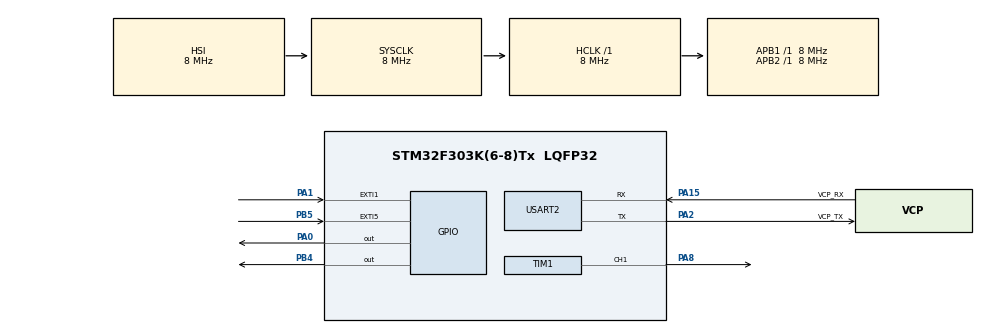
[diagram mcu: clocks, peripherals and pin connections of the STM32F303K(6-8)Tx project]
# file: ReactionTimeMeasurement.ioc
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Mcu.Family=STM32F3
Mcu.Name=STM32F303K(6-8)Tx
Mcu.Package=LQFP32
NVIC.EXTI1_IRQn=true\:0\:0\:false\:false\:true\:true\:true\:true
NVIC.EXTI9_5_IRQn=true\:0\:0\:false\:false\:true\:true\:true\:true
NVIC.PriorityGroup=NVIC_PRIORITYGROUP_4
NVIC.TIM2_IRQn=true\:0\:0\:false\:false\:true\:true\:true\:true
NVIC.TIM3_IRQn=true\:0\:0\:false\:false\:true\:true\:true\:true
NVIC.TIM6_DAC1_IRQn=true\:0\:0\:false\:false\:true\:true\:true\:true
PA0.Signal=GPIO_Output
PA1.GPIO_ModeDefaultEXTI=GPIO_MODE_IT_FALLING
PA1.GPIO_PuPd=GPIO_PULLDOWN
PA1.Signal=GPXTI1
PA13.GPIO_Label=SWDIO
PA13.Mode=Serial_Wire
PA13.Signal=SYS_JTMS-SWDIO
PA14.GPIO_Label=SWCLK
PA14.Mode=Serial_Wire
PA14.Signal=SYS_JTCK-SWCLK
PA15.GPIO_Label=VCP_RX
PA15.Mode=Asynchronous
PA15.Signal=USART2_RX
PA2.GPIO_Label=VCP_TX
PA2.Mode=Asynchronous
PA2.Signal=USART2_TX
PA8.Signal=S_TIM1_CH1
PB4.GPIO_PuPd=GPIO_NOPULL
PB4.Signal=GPIO_Output
PB5.GPIO_ModeDefaultEXTI=GPIO_MODE_IT_FALLING
PB5.GPIO_PuPd=GPIO_PULLDOWN
PB5.Signal=GPXTI5
PF0\ /\ OSC_IN.GPIO_Label=MCO
PF0\ /\ OSC_IN.Mode=HSE-External-Clock-Source
PF0\ /\ OSC_IN.Signal=RCC_OSC_IN
ProjectManager.HeapSize=0x200
ProjectManager.StackSize=0x400
ProjectManager.TargetToolchain=STM32CubeIDE
RCC.AHBFreq_Value=8000000
RCC.APB1Freq_Value=8000000
RCC.APB2Freq_Value=8000000
RCC.CortexFreq_Value=8000000
RCC.HSE_VALUE=8000000
RCC.HSI_VALUE=8000000
RCC.SYSCLKFreq_VALUE=8000000
SH.S_TIM1_CH1.0=TIM1_CH1,PWM Generation1 CH1
TIM1.Channel-PWM\ Generation1\ CH1=TIM_CHANNEL_1
TIM1.Period=1999
TIM1.Prescaler=71
TIM2.Period=1
TIM2.Prescaler=3999
TIM3.Period=1
TIM3.Prescaler=3999
TIM6.Period=1
TIM6.Prescaler=3999
USART2.VirtualMode-Asynchronous=VM_ASYNC
VP_TIM2_VS_ClockSourceINT.Mode=Internal
VP_TIM3_VS_ClockSourceINT.Mode=Internal
VP_TIM6_VS_ClockSourceINT.Mode=Enable_Timer
board=NUCLEO-F303K8

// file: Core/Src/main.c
/* USER CODE BEGIN Header */
/**
 ******************************************************************************
 * @file           : main.c
 * @brief          : Main program body
 ******************************************************************************
 * @attention
 *
 * Copyright (c) 2024 STMicroelectronics.
 * All rights reserved.
 *
 * This software is licensed under terms that can be found in the LICENSE file
 * in the root directory of this software component.
 * If no LICENSE file comes with this software, it is provided AS-IS.
 *
 ******************************************************************************
 */
/* USER CODE END Header */
#include "main.h"

/* USER CODE BEGIN Includes */
#include "string.h"
#include <stdint.h>
#include <stdio.h>
#include <stdlib.h>
#include <time.h>

/* USER CODE END Includes */

/* USER CODE BEGIN PD */
#define LED2_PIN    GPIO_PIN_4  // LED 1 en PB4
#define LED1_PIN    GPIO_PIN_0  // LED 2 en PA0
#define BUTTON2_PIN GPIO_PIN_5  // Botón 2 en PB5
#define BUTTON1_PIN GPIO_PIN_1  // Botón 1 en PA1
/* USER CODE END PD */

TIM_HandleTypeDef htim1;
TIM_HandleTypeDef htim2;
TIM_HandleTypeDef htim3;
TIM_HandleTypeDef htim6;

UART_HandleTypeDef huart2;

/* USER CODE BEGIN PV */
volatile uint8_t jugando = 0;
// MODO 1 - LEDS
volatile uint64_t contadorTimerModo1 = 0;
volatile uint64_t timerEsperaModo1 = 0;
volatile uint64_t tiempoEsperaModo1 = 0;
volatile uint8_t flagModo1 = 0;
volatile uint64_t ledModo1 = 0;
volatile uint8_t flagEmpezado = 0;
// MODO 2 - BUZZER
volatile uint8_t flagModo2 = 0;
volatile uint64_t contadorTimerModo2 = 0;
volatile uint64_t timerEsperaModo2 = 0;
volatile uint64_t tiempoEsperaModo2 = 0;
volatile uint16_t contadorBuzzer = 0;
volatile uint8_t flagBuzzer = 0;
volatile uint16_t tiempoBuzzer = 150;

/* USER CODE END PV */

void SystemClock_Config(void);
static void MX_GPIO_Init(void);
static void MX_USART2_UART_Init(void);
static void MX_TIM2_Init(void);
static void MX_TIM3_Init(void);
static void MX_TIM1_Init(void);
static void MX_TIM6_Init(void);
/* USER CODE BEGIN PFP */

void init_random_seed() {
	// Usa HAL_GetTick() como semilla para srand()
//    srand(HAL_GetTick());
	srand(time(NULL));
}

// Función para generar un número aleatorio en el rango dado [min, max]
uint64_t generarNumeroAleatorio(uint64_t min, uint64_t max) {
	if (min > max) {
		return -1; // Devuelve -1 si el rango no es válido
	}
	uint64_t numero = min + rand() % (max - min + 1);
	return numero;
}

void startBuzzer(uint16_t frequency) {
	flagBuzzer = 1;
	uint32_t arr = 1000000 / frequency;
	uint32_t pulse = arr / 2;
	__HAL_TIM_SET_COMPARE(&htim1, TIM_CHANNEL_1, pulse);
	HAL_TIM_PWM_Start(&htim1, TIM_CHANNEL_1);
	__HAL_TIM_SET_COUNTER(&htim6, 0); // Reinicia el contador
	HAL_TIM_Base_Start_IT(&htim6);
	contadorBuzzer = 0;
}
;

void endBuzzer(void) {
	flagBuzzer = 0;
	HAL_TIM_PWM_Stop(&htim1, TIM_CHANNEL_1);
	HAL_TIM_Base_Start_IT(&htim6);
	contadorBuzzer = 0;
}
;

void modo1(void) {
	flagModo1 = 1;
	tiempoEsperaModo1 = generarNumeroAleatorio(3000, 6000);
	ledModo1 = generarNumeroAleatorio(0, 1);
	HAL_TIM_Base_Start_IT(&htim3);
}

void modo2(void) {
	flagModo2 = 1;
	HAL_GPIO_WritePin(GPIOA, GPIO_PIN_0, 1);
	tiempoEsperaModo2 = generarNumeroAleatorio(1000, 6000);
	HAL_TIM_Base_Start_IT(&htim3);
}

void jugar(int opcion) {
	switch (opcion) {
	case 1:
		jugando = 1;
		modo1();
		break;

	case 2:
		jugando = 1;
		modo2();
		break;

	default:
		break;
	}
}
/* USER CODE END PFP */

int main(void) {

	/* MCU Configuration--------------------------------------------------------*/

	/* Reset of all peripherals, Initializes the Flash interface and the Systick. */
	HAL_Init();

	/* Configure the system clock */
	SystemClock_Config();

	/* Initialize all configured peripherals */
	MX_GPIO_Init();
	MX_USART2_UART_Init();
	MX_TIM2_Init();
	MX_TIM3_Init();
	MX_TIM1_Init();
	MX_TIM6_Init();
	/* USER CODE BEGIN 2 */
	HAL_GPIO_WritePin(GPIOA, GPIO_PIN_0, 0);
	HAL_GPIO_WritePin(GPIOB, GPIO_PIN_4, 0);
	/* USER CODE END 2 */

	/* USER CODE BEGIN 3 */
	/* USER CODE BEGIN WHILE */
	while (1) {
		uint8_t receivedData = 0;

		// Verifica si hay datos en la UART (modo bloqueante)
		if ((HAL_UART_Receive(&huart2, &receivedData, 1, HAL_MAX_DELAY)
				== HAL_OK) && jugando == 0) {
			// Procesa los datos recibidos en el switch
			switch (receivedData) {
			case '1': // Si el carácter recibido es '1'

				HAL_UART_Transmit(&huart2,
						(uint8_t*) "\n\rModo 1 seleccionado\n\r", 22,
						HAL_MAX_DELAY);
				jugar(1); // Llama al modo 1
				break;

			case '2': // Si el carácter recibido es '2'
				HAL_UART_Transmit(&huart2,
						(uint8_t*) "\n\rModo 2 seleccionado\n\r", 22,
						HAL_MAX_DELAY);
				jugar(2); // Llama al modo 2
				break;

			default: // Para cualquier otro dato
				HAL_UART_Transmit(&huart2, (uint8_t*) "Comando no válido\n\r",
						20, HAL_MAX_DELAY);
				break;
			}
		}
	}
	/* USER CODE END WHILE */

	/* USER CODE END 3 */
}

void SystemClock_Config(void) {
	RCC_OscInitTypeDef RCC_OscInitStruct = { 0 };
	RCC_ClkInitTypeDef RCC_ClkInitStruct = { 0 };
	RCC_PeriphCLKInitTypeDef PeriphClkInit = { 0 };

	/** Initializes the RCC Oscillators according to the specified parameters
	 * in the RCC_OscInitTypeDef structure.
	 */
	RCC_OscInitStruct.OscillatorType = RCC_OSCILLATORTYPE_HSI;
	RCC_OscInitStruct.HSIState = RCC_HSI_ON;
	RCC_OscInitStruct.HSICalibrationValue = RCC_HSICALIBRATION_DEFAULT;
	RCC_OscInitStruct.PLL.PLLState = RCC_PLL_NONE;
	if (HAL_RCC_OscConfig(&RCC_OscInitStruct) != HAL_OK) {
		Error_Handler();
	}

	/** Initializes the CPU, AHB and APB buses clocks
	 */
	RCC_ClkInitStruct.ClockType = RCC_CLOCKTYPE_HCLK | RCC_CLOCKTYPE_SYSCLK
			| RCC_CLOCKTYPE_PCLK1 | RCC_CLOCKTYPE_PCLK2;
	RCC_ClkInitStruct.SYSCLKSource = RCC_SYSCLKSOURCE_HSI;
	RCC_ClkInitStruct.AHBCLKDivider = RCC_SYSCLK_DIV1;
	RCC_ClkInitStruct.APB1CLKDivider = RCC_HCLK_DIV1;
	RCC_ClkInitStruct.APB2CLKDivider = RCC_HCLK_DIV1;

	if (HAL_RCC_ClockConfig(&RCC_ClkInitStruct, FLASH_LATENCY_0) != HAL_OK) {
		Error_Handler();
	}
	PeriphClkInit.PeriphClockSelection = RCC_PERIPHCLK_TIM1;
	PeriphClkInit.Tim1ClockSelection = RCC_TIM1CLK_HCLK;
	if (HAL_RCCEx_PeriphCLKConfig(&PeriphClkInit) != HAL_OK) {
		Error_Handler();
	}
}

static void MX_TIM1_Init(void) {

	TIM_MasterConfigTypeDef sMasterConfig = { 0 };
	TIM_OC_InitTypeDef sConfigOC = { 0 };
	TIM_BreakDeadTimeConfigTypeDef sBreakDeadTimeConfig = { 0 };

	htim1.Instance = TIM1;
	htim1.Init.Prescaler = 71;
	htim1.Init.CounterMode = TIM_COUNTERMODE_UP;
	htim1.Init.Period = 1999;
	htim1.Init.ClockDivision = TIM_CLOCKDIVISION_DIV1;
	htim1.Init.RepetitionCounter = 0;
	htim1.Init.AutoReloadPreload = TIM_AUTORELOAD_PRELOAD_DISABLE;
	if (HAL_TIM_PWM_Init(&htim1) != HAL_OK) {
		Error_Handler();
	}
	sMasterConfig.MasterOutputTrigger = TIM_TRGO_RESET;
	sMasterConfig.MasterOutputTrigger2 = TIM_TRGO2_RESET;
	sMasterConfig.MasterSlaveMode = TIM_MASTERSLAVEMODE_DISABLE;
	if (HAL_TIMEx_MasterConfigSynchronization(&htim1, &sMasterConfig)
			!= HAL_OK) {
		Error_Handler();
	}
	sConfigOC.OCMode = TIM_OCMODE_PWM1;
	sConfigOC.Pulse = 0;
	sConfigOC.OCPolarity = TIM_OCPOLARITY_HIGH;
	sConfigOC.OCNPolarity = TIM_OCNPOLARITY_HIGH;
	sConfigOC.OCFastMode = TIM_OCFAST_DISABLE;
	sConfigOC.OCIdleState = TIM_OCIDLESTATE_RESET;
	sConfigOC.OCNIdleState = TIM_OCNIDLESTATE_RESET;
	if (HAL_TIM_PWM_ConfigChannel(&htim1, &sConfigOC, TIM_CHANNEL_1)
			!= HAL_OK) {
		Error_Handler();
	}
	sBreakDeadTimeConfig.OffStateRunMode = TIM_OSSR_DISABLE;
	sBreakDeadTimeConfig.OffStateIDLEMode = TIM_OSSI_DISABLE;
	sBreakDeadTimeConfig.LockLevel = TIM_LOCKLEVEL_OFF;
	sBreakDeadTimeConfig.DeadTime = 0;
	sBreakDeadTimeConfig.BreakState = TIM_BREAK_DISABLE;
	sBreakDeadTimeConfig.BreakPolarity = TIM_BREAKPOLARITY_HIGH;
	sBreakDeadTimeConfig.BreakFilter = 0;
	sBreakDeadTimeConfig.Break2State = TIM_BREAK2_DISABLE;
	sBreakDeadTimeConfig.Break2Polarity = TIM_BREAK2POLARITY_HIGH;
	sBreakDeadTimeConfig.Break2Filter = 0;
	sBreakDeadTimeConfig.AutomaticOutput = TIM_AUTOMATICOUTPUT_DISABLE;
	if (HAL_TIMEx_ConfigBreakDeadTime(&htim1, &sBreakDeadTimeConfig)
			!= HAL_OK) {
		Error_Handler();
	}
	HAL_TIM_MspPostInit(&htim1);

}

static void MX_TIM2_Init(void) {

	TIM_ClockConfigTypeDef sClockSourceConfig = { 0 };
	TIM_MasterConfigTypeDef sMasterConfig = { 0 };

	htim2.Instance = TIM2;
	htim2.Init.Prescaler = 3999;
	htim2.Init.CounterMode = TIM_COUNTERMODE_UP;
	htim2.Init.Period = 1;
	htim2.Init.ClockDivision = TIM_CLOCKDIVISION_DIV1;
	htim2.Init.AutoReloadPreload = TIM_AUTORELOAD_PRELOAD_DISABLE;
	if (HAL_TIM_Base_Init(&htim2) != HAL_OK) {
		Error_Handler();
	}
	sClockSourceConfig.ClockSource = TIM_CLOCKSOURCE_INTERNAL;
	if (HAL_TIM_ConfigClockSource(&htim2, &sClockSourceConfig) != HAL_OK) {
		Error_Handler();
	}
	sMasterConfig.MasterOutputTrigger = TIM_TRGO_RESET;
	sMasterConfig.MasterSlaveMode = TIM_MASTERSLAVEMODE_DISABLE;
	if (HAL_TIMEx_MasterConfigSynchronization(&htim2, &sMasterConfig)
			!= HAL_OK) {
		Error_Handler();
	}

}

static void MX_TIM3_Init(void) {

	TIM_ClockConfigTypeDef sClockSourceConfig = { 0 };
	TIM_MasterConfigTypeDef sMasterConfig = { 0 };

	htim3.Instance = TIM3;
	htim3.Init.Prescaler = 3999;
	htim3.Init.CounterMode = TIM_COUNTERMODE_UP;
	htim3.Init.Period = 1;
	htim3.Init.ClockDivision = TIM_CLOCKDIVISION_DIV1;
	htim3.Init.AutoReloadPreload = TIM_AUTORELOAD_PRELOAD_DISABLE;
	if (HAL_TIM_Base_Init(&htim3) != HAL_OK) {
		Error_Handler();
	}
	sClockSourceConfig.ClockSource = TIM_CLOCKSOURCE_INTERNAL;
	if (HAL_TIM_ConfigClockSource(&htim3, &sClockSourceConfig) != HAL_OK) {
		Error_Handler();
	}
	sMasterConfig.MasterOutputTrigger = TIM_TRGO_RESET;
	sMasterConfig.MasterSlaveMode = TIM_MASTERSLAVEMODE_DISABLE;
	if (HAL_TIMEx_MasterConfigSynchronization(&htim3, &sMasterConfig)
			!= HAL_OK) {
		Error_Handler();
	}

}

static void MX_TIM6_Init(void) {

	TIM_MasterConfigTypeDef sMasterConfig = { 0 };

	htim6.Instance = TIM6;
	htim6.Init.Prescaler = 3999;
	htim6.Init.CounterMode = TIM_COUNTERMODE_UP;
	htim6.Init.Period = 1;
	htim6.Init.AutoReloadPreload = TIM_AUTORELOAD_PRELOAD_DISABLE;
	if (HAL_TIM_Base_Init(&htim6) != HAL_OK) {
		Error_Handler();
	}
	sMasterConfig.MasterOutputTrigger = TIM_TRGO_RESET;
	sMasterConfig.MasterSlaveMode = TIM_MASTERSLAVEMODE_DISABLE;
	if (HAL_TIMEx_MasterConfigSynchronization(&htim6, &sMasterConfig)
			!= HAL_OK) {
		Error_Handler();
	}

}

static void MX_USART2_UART_Init(void) {

	huart2.Instance = USART2;
	huart2.Init.BaudRate = 38400;
	huart2.Init.WordLength = UART_WORDLENGTH_8B;
	huart2.Init.StopBits = UART_STOPBITS_1;
	huart2.Init.Parity = UART_PARITY_NONE;
	huart2.Init.Mode = UART_MODE_TX_RX;
	huart2.Init.HwFlowCtl = UART_HWCONTROL_NONE;
	huart2.Init.OverSampling = UART_OVERSAMPLING_16;
	huart2.Init.OneBitSampling = UART_ONE_BIT_SAMPLE_DISABLE;
	huart2.AdvancedInit.AdvFeatureInit = UART_ADVFEATURE_NO_INIT;
	if (HAL_UART_Init(&huart2) != HAL_OK) {
		Error_Handler();
	}

}

static void MX_GPIO_Init(void) {
	GPIO_InitTypeDef GPIO_InitStruct = { 0 };

	/* GPIO Ports Clock Enable */
	__HAL_RCC_GPIOF_CLK_ENABLE();
	__HAL_RCC_GPIOA_CLK_ENABLE();
	__HAL_RCC_GPIOB_CLK_ENABLE();

	/*Configure GPIO pin Output Level */
	HAL_GPIO_WritePin(GPIOA, GPIO_PIN_0, GPIO_PIN_RESET);

	/*Configure GPIO pin Output Level */
	HAL_GPIO_WritePin(GPIOB, GPIO_PIN_4, GPIO_PIN_RESET);

	/*Configure GPIO pin : PA0 */
	GPIO_InitStruct.Pin = GPIO_PIN_0;
	GPIO_InitStruct.Mode = GPIO_MODE_OUTPUT_PP;
	GPIO_InitStruct.Pull = GPIO_NOPULL;
	GPIO_InitStruct.Speed = GPIO_SPEED_FREQ_LOW;
	HAL_GPIO_Init(GPIOA, &GPIO_InitStruct);

	/*Configure GPIO pin : PA1 */
	GPIO_InitStruct.Pin = GPIO_PIN_1;
	GPIO_InitStruct.Mode = GPIO_MODE_IT_FALLING;
	GPIO_InitStruct.Pull = GPIO_PULLDOWN;
	HAL_GPIO_Init(GPIOA, &GPIO_InitStruct);

	/*Configure GPIO pin : PB4 */
	GPIO_InitStruct.Pin = GPIO_PIN_4;
	GPIO_InitStruct.Mode = GPIO_MODE_OUTPUT_PP;
	GPIO_InitStruct.Pull = GPIO_NOPULL;
	GPIO_InitStruct.Speed = GPIO_SPEED_FREQ_LOW;
	HAL_GPIO_Init(GPIOB, &GPIO_InitStruct);

	/*Configure GPIO pin : PB5 */
	GPIO_InitStruct.Pin = GPIO_PIN_5;
	GPIO_InitStruct.Mode = GPIO_MODE_IT_FALLING;
	GPIO_InitStruct.Pull = GPIO_PULLDOWN;
	HAL_GPIO_Init(GPIOB, &GPIO_InitStruct);

	/* EXTI interrupt init*/
	HAL_NVIC_SetPriority(EXTI1_IRQn, 0, 0);
	HAL_NVIC_EnableIRQ(EXTI1_IRQn);

	HAL_NVIC_SetPriority(EXTI9_5_IRQn, 0, 0);
	HAL_NVIC_EnableIRQ(EXTI9_5_IRQn);

}

void Error_Handler(void) {
	__disable_irq();
	while (1) {
	}
}
